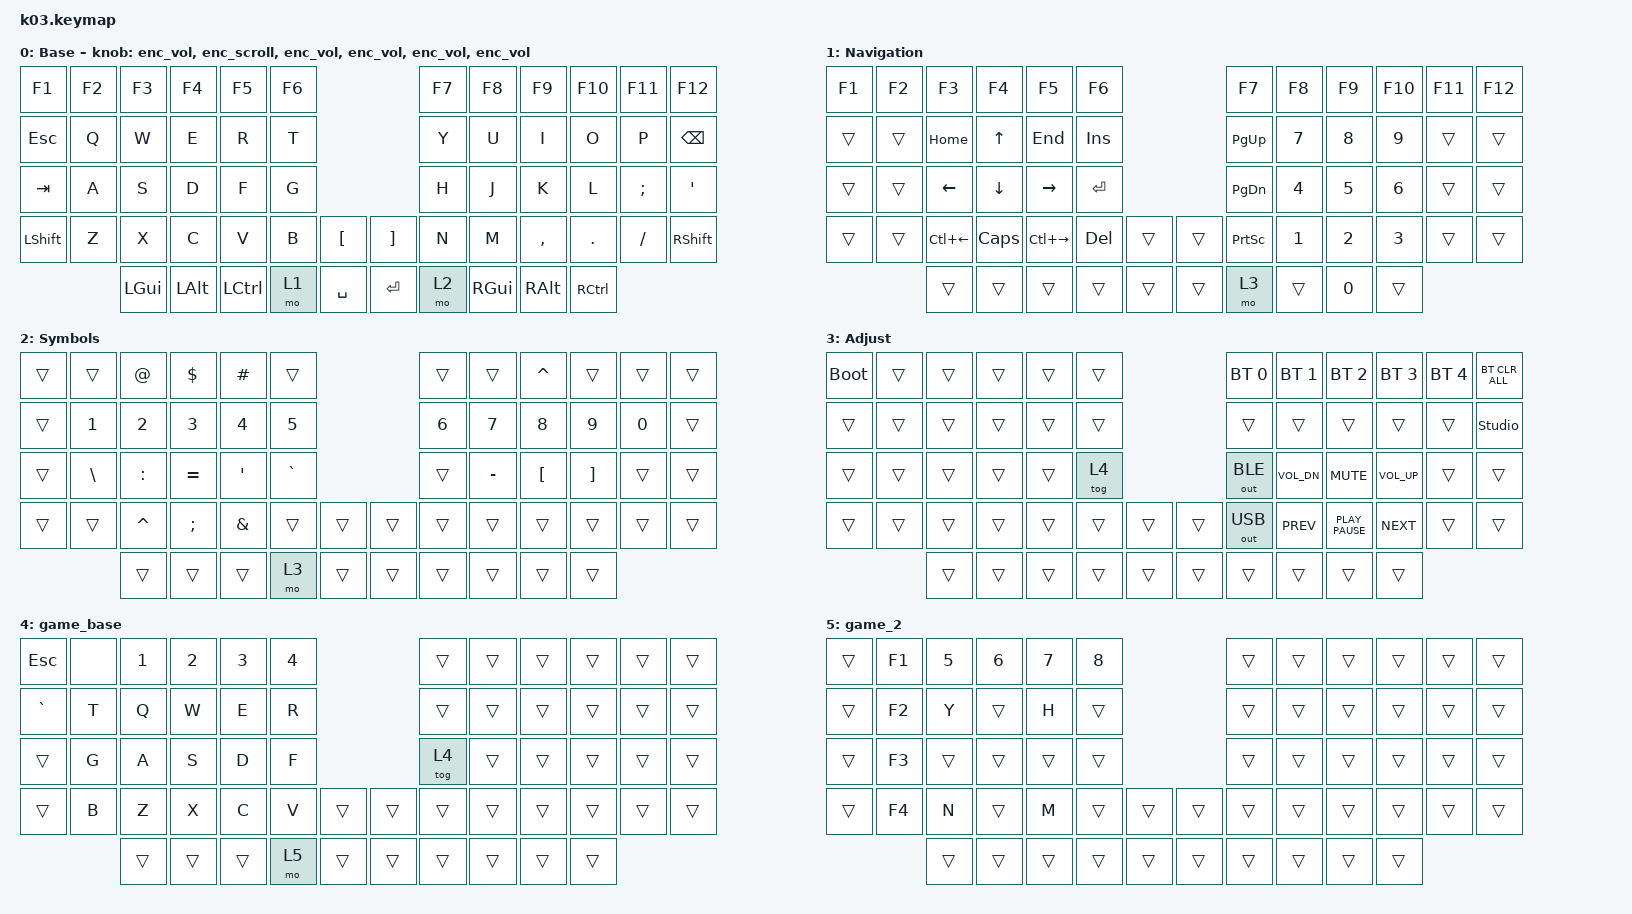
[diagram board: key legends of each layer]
#include "keys_ru.h"
#include <behaviors.dtsi>
#include <dt-bindings/zmk/bt.h>
#include <dt-bindings/zmk/keys.h>
#include <dt-bindings/zmk/outputs.h>

#define ZMK_MOUSE_SCRL_VAL 140
#include <dt-bindings/zmk/pointing.h>

/ {
    behaviors {
        enc_vol: enc_vol {
            compatible = "zmk,behavior-sensor-rotate";
            label = "ENC_VOL";
            #sensor-binding-cells = <0>;
            bindings = <&kp C_VOL_UP>, <&kp C_VOL_DN>;
        };

        enc_scroll: enc_scroll {
            compatible = "zmk,behavior-sensor-rotate";
            label = "ENC_SCROLL";
            #sensor-binding-cells = <0>;
            bindings = <&msc SCRL_DOWN>, <&msc SCRL_UP>;

            tap-ms = <20>;
        };
    };

    keymap {
        compatible = "zmk,keymap";

        base {
            bindings = <
&kp F1     &kp F2  &kp F3    &kp F4    &kp F5     &kp F6                          &kp F7  &kp F8         &kp F9     &kp F10            &kp F11   &kp F12
&kp ESC    &kp Q   &kp W     &kp E     &kp R      &kp T                           &kp Y   &kp U          &kp I      &kp O              &kp P     &kp BACKSPACE
&kp TAB    &kp A   &kp S     &kp D     &kp F      &kp G                           &kp H   &kp J          &kp K      &kp L              &kp SEMI  &kp SQT
&kp LSHFT  &kp Z   &kp X     &kp C     &kp V      &kp B   &kp LBKT     &kp RBKT   &kp N   &kp M          &kp COMMA  &kp DOT            &kp FSLH  &kp RSHFT
                   &kp LGUI  &kp LALT  &kp LCTRL  &mo 1   &kp SPACE    &kp ENTER  &mo 2   &kp RIGHT_GUI  &kp RALT   &kp RIGHT_CONTROL
            >;

            display-name = "Base";
            sensor-bindings =
                <&enc_vol>,
                <&enc_scroll>,
                <&enc_vol>,
                <&enc_vol>,
                <&enc_vol>,
                <&enc_vol>;
        };

        nav {
            bindings = <
&kp F1  &kp F2  &kp F3        &kp F4    &kp F5         &kp F6                     &kp F7           &kp F8  &kp F9  &kp F10  &kp F11  &kp F12
&trans  &trans  &kp HOME      &kp UP    &kp END        &kp INS                    &kp PG_UP        &kp N7  &kp N8  &kp N9   &trans   &trans
&trans  &trans  &kp LEFT      &kp DOWN  &kp RIGHT      &kp RET                    &kp PG_DN        &kp N4  &kp N5  &kp N6   &trans   &trans
&trans  &trans  &kp LC(LEFT)  &kp CAPS  &kp LC(RIGHT)  &kp DEL  &trans    &trans  &kp PRINTSCREEN  &kp N1  &kp N2  &kp N3   &trans   &trans
                &trans        &trans    &trans         &trans   &trans    &trans  &mo 3            &trans  &kp N0  &trans
            >;

            display-name = "Navigation";
        };

        sym {
            bindings = <
&trans  &trans    &kp AT        &kp DLLR      &kp HASH       &trans                          &trans  &trans     &kp CARET         &trans             &trans  &trans
&trans  &kp N1    &kp NUMBER_2  &kp NUMBER_3  &kp NUMBER_4   &kp NUMBER_5                    &kp N6  &kp N7     &kp N8            &kp N9             &kp N0  &trans
&trans  &kp BSLH  &kp COLON     &kp EQUAL     &kp SQT        &kp GRAVE                       &trans  &kp MINUS  &kp LEFT_BRACKET  &kp RIGHT_BRACKET  &trans  &trans
&trans  &trans    &kp CARET     &kp SEMI      &kp AMPERSAND  &trans        &trans    &trans  &trans  &trans     &trans            &trans             &trans  &trans
                  &trans        &trans        &trans         &mo 3         &trans    &trans  &trans  &trans     &trans            &trans
            >;

            display-name = "Symbols";
        };

        adj {
            bindings = <
&bootloader  &trans  &trans  &trans  &trans  &trans                    &bt BT_SEL 0  &bt BT_SEL 1  &bt BT_SEL 2      &bt BT_SEL 3  &bt BT_SEL 4  &bt BT_CLR_ALL
&trans       &trans  &trans  &trans  &trans  &trans                    &trans        &trans        &trans            &trans        &trans        &studio_unlock
&trans       &trans  &trans  &trans  &trans  &tog 4                    &out OUT_BLE  &kp C_VOL_DN  &kp K_MUTE        &kp C_VOL_UP  &trans        &trans
&trans       &trans  &trans  &trans  &trans  &trans  &trans    &trans  &out OUT_USB  &kp K_PREV    &kp K_PLAY_PAUSE  &kp K_NEXT    &trans        &trans
                     &trans  &trans  &trans  &trans  &trans    &trans  &trans        &trans        &trans            &trans
            >;

            display-name = "Adjust";
        };

        game_base {
            bindings = <
&kp ESC    &none  &kp N1  &kp N2  &kp N3  &kp N4                    &trans  &trans  &trans  &trans  &trans  &trans
&kp GRAVE  &kp T  &kp Q   &kp W   &kp E   &kp R                     &trans  &trans  &trans  &trans  &trans  &trans
&trans     &kp G  &kp A   &kp S   &kp D   &kp F                     &tog 4  &trans  &trans  &trans  &trans  &trans
&trans     &kp B  &kp Z   &kp X   &kp C   &kp V   &trans    &trans  &trans  &trans  &trans  &trans  &trans  &trans
                  &trans  &trans  &trans  &mo 5   &trans    &trans  &trans  &trans  &trans  &trans
            >;
        };

        game_2 {
            bindings = <
&trans  &kp F1  &kp N5  &kp N6  &kp N7  &kp N8                    &trans  &trans  &trans  &trans  &trans  &trans
&trans  &kp F2  &kp Y   &trans  &kp H   &trans                    &trans  &trans  &trans  &trans  &trans  &trans
&trans  &kp F3  &trans  &trans  &trans  &trans                    &trans  &trans  &trans  &trans  &trans  &trans
&trans  &kp F4  &kp N   &trans  &kp M   &trans  &trans    &trans  &trans  &trans  &trans  &trans  &trans  &trans
                &trans  &trans  &trans  &trans  &trans    &trans  &trans  &trans  &trans  &trans
            >;
        };
    };
};
